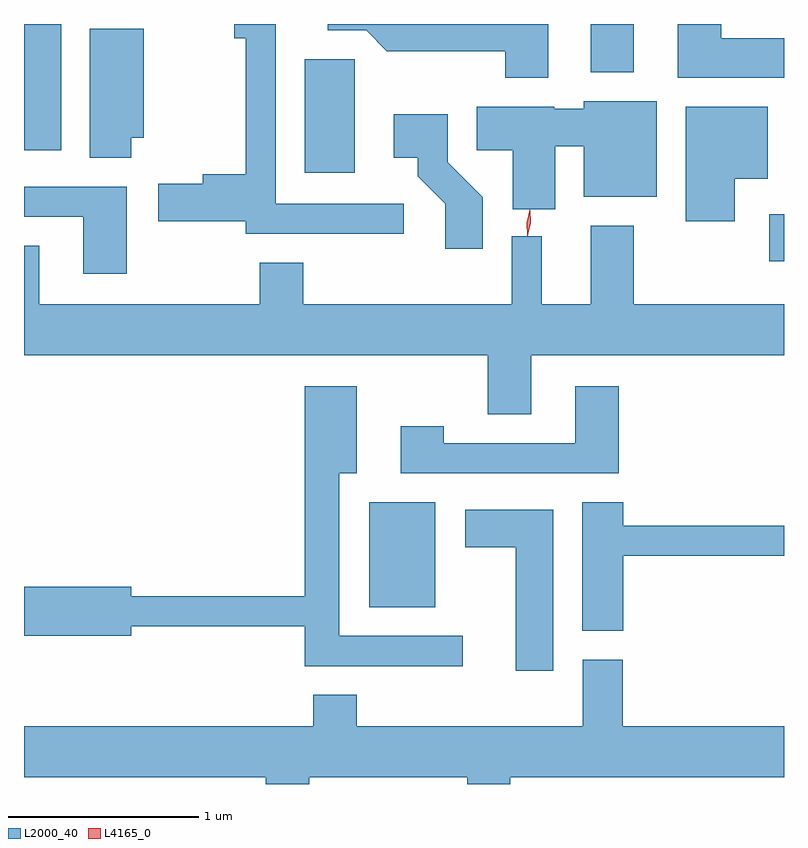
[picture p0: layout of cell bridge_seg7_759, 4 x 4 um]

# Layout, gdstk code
import gdstk
lib = gdstk.Library(unit=1e-6, precision=1e-09)
def R(c, l, rs):  # rectangles x0, y0, x1, y1
    for r in rs: c.add(gdstk.rectangle(r[:2], r[2:], *l))
def P(c, l, *ps):  # polygons
    for p in ps: c.add(gdstk.Polygon(p, *l))
L2000_40 = (2000, 40)
L4165_0 = (4165, 0)

bridge_seg7_759 = lib.new_cell('bridge_seg7_759')
R(bridge_seg7_759, L2000_40, [(211.566,1755.171,211.914,1755.724), (213.671,1756.991,213.749,1757.239), (211.226,1757.456,211.489,1758.054), (209.749,1757.576,209.944,1758.24), (212.731,1757.986,212.959,1758.24)])
P(bridge_seg7_759, L2000_40, [(211.748,1757.294),(211.074,1757.294),(211.074,1758.24),(210.856,1758.24),(210.856,1758.166),(210.916,1758.166),(210.916,1757.449),(210.691,1757.449),(210.691,1757.399),(210.456,1757.399),(210.456,1757.201),(210.916,1757.201),(210.916,1757.136),(211.748,1757.136)],
  [(213.749,1758.164),(213.419,1758.164),(213.419,1758.24),(213.191,1758.24),(213.191,1757.956),(213.749,1757.956)],
  [(212.509,1758.24),(211.348,1758.24),(211.348,1758.206),(211.549,1758.206),(211.659,1758.096),(212.281,1758.096),(212.281,1757.956),(212.509,1757.956)],
  [(210.314,1757.641),(210.379,1757.641),(210.379,1758.214),(210.096,1758.214),(210.096,1757.536),(210.314,1757.536)],
  [(212.544,1757.596),(212.696,1757.596),(212.696,1757.331),(213.079,1757.331),(213.079,1757.834),(212.696,1757.834),(212.696,1757.794),(212.54,1757.794),(212.54,1757.804),(212.131,1757.804),(212.131,1757.576),(212.321,1757.576),(212.321,1757.266),(212.544,1757.266)],
  [(213.489,1757.426),(213.664,1757.426),(213.664,1757.804),(213.231,1757.804),(213.231,1757.201),(213.489,1757.201)],
  [(212.164,1757.327),(211.979,1757.512),(211.979,1757.764),(211.696,1757.764),(211.696,1757.536),(211.821,1757.536),(211.821,1757.439),(211.966,1757.294),(211.966,1757.056),(212.164,1757.056)],
  [(210.289,1757.384),(209.749,1757.384),(209.749,1757.226),(210.061,1757.226),(210.061,1756.926),(210.289,1756.926)],
  [(212.419,1756.496),(213.749,1756.496),(213.749,1756.764),(212.959,1756.764),(212.959,1757.179),(212.731,1757.179),(212.731,1756.764),(212.474,1756.764),(212.474,1757.123),(212.316,1757.123),(212.316,1756.764),(211.219,1756.764),(211.219,1756.984),(210.991,1756.984),(210.991,1756.764),(209.829,1756.764),(209.829,1757.074),(209.749,1757.074),(209.749,1756.496),(212.191,1756.496),(212.191,1756.186),(212.419,1756.186)],
  [(212.879,1756.334),(212.651,1756.334),(212.651,1756.034),(211.959,1756.034),(211.959,1756.124),(211.731,1756.124),(211.731,1755.876),(212.879,1755.876)],
  [(212.058,1755.019),(211.409,1755.019),(211.409,1755.876),(211.499,1755.876),(211.499,1756.334),(211.226,1756.334),(211.226,1755.229),(210.314,1755.229),(210.314,1755.279),(209.749,1755.279),(209.749,1755.021),(210.314,1755.021),(210.314,1755.071),(211.226,1755.071),(211.226,1754.861),(212.058,1754.861)],
  [(212.904,1755.441),(213.749,1755.441),(213.749,1755.599),(212.904,1755.599),(212.904,1755.724),(212.686,1755.724),(212.686,1755.046),(212.904,1755.046)],
  [(212.534,1755.684),(212.071,1755.684),(212.071,1755.486),(212.336,1755.486),(212.336,1754.836),(212.534,1754.836)],
  [(211.249,1754.276),(212.081,1754.276),(212.081,1754.24),(212.309,1754.24),(212.309,1754.276),(213.749,1754.276),(213.749,1754.544),(212.899,1754.544),(212.899,1754.894),(212.691,1754.894),(212.691,1754.544),(211.499,1754.544),(211.499,1754.709),(211.271,1754.709),(211.271,1754.544),(209.749,1754.544),(209.749,1754.276),(211.021,1754.276),(211.021,1754.24),(211.249,1754.24)])
P(bridge_seg7_759, L4165_0, [(212.4,1757.129),(212.397,1757.196),(212.413,1757.26),(212.413,1757.261),(212.414,1757.26),(212.417,1757.194),(212.401,1757.129),(212.401,1757.129)],
  [(212.398,1757.126),(212.398,1757.126),(212.395,1757.195),(212.41,1757.263),(212.411,1757.263),(212.412,1757.263),(212.414,1757.194),(212.399,1757.126)])

lib.write_gds('bridge_seg7_759.gds')
